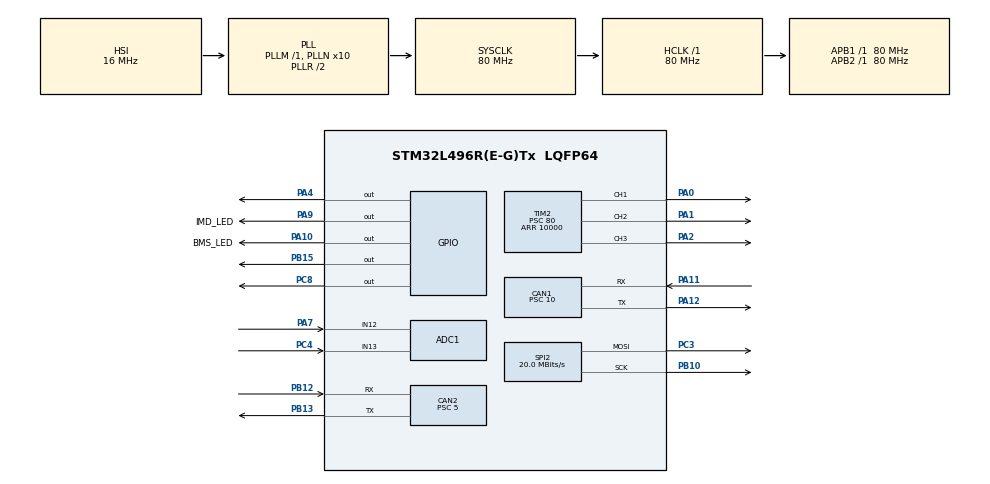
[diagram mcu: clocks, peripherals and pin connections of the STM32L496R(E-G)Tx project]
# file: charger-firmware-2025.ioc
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ADC1.Channel-0\#ChannelRegularConversion=ADC_CHANNEL_12
ADC1.NbrOfConversionFlag=1
ADC1.OffsetNumber-0\#ChannelRegularConversion=ADC_OFFSET_NONE
ADC1.Rank-0\#ChannelRegularConversion=1
ADC1.SamplingTime-0\#ChannelRegularConversion=ADC_SAMPLETIME_2CYCLES_5
ADC1.master=1
CAN1.BS1=CAN_BS1_13TQ
CAN1.BS2=CAN_BS2_2TQ
CAN1.CalculateBaudRate=500000
CAN1.CalculateTimeBit=2000
CAN1.CalculateTimeQuantum=125.0
CAN1.Prescaler=10
CAN2.BS1=CAN_BS1_13TQ
CAN2.BS2=CAN_BS2_2TQ
CAN2.AutoBusOff=ENABLE
CAN2.CalculateBaudRate=1000000
CAN2.CalculateTimeBit=1000
CAN2.CalculateTimeQuantum=62.5
CAN2.Prescaler=5
Dma.ADC1.0.Direction=DMA_PERIPH_TO_MEMORY
Dma.ADC1.0.Instance=DMA1_Channel1
Dma.ADC1.0.MemDataAlignment=DMA_MDATAALIGN_HALFWORD
Dma.ADC1.0.MemInc=DMA_MINC_ENABLE
Dma.ADC1.0.Mode=DMA_CIRCULAR
Dma.ADC1.0.PeriphDataAlignment=DMA_PDATAALIGN_HALFWORD
Dma.ADC1.0.PeriphInc=DMA_PINC_DISABLE
Dma.ADC1.0.Priority=DMA_PRIORITY_LOW
Dma.Request0=ADC1
Mcu.Family=STM32L4
Mcu.Name=STM32L496R(E-G)Tx
Mcu.Package=LQFP64
NVIC.DMA1_Channel1_IRQn=true\:0\:0\:false\:false\:true\:false\:true\:true
NVIC.PriorityGroup=NVIC_PRIORITYGROUP_4
PA0.Signal=S_TIM2_CH1
PA1.Signal=S_TIM2_CH2
PA10.GPIO_Label=BMS_LED
PA10.Signal=GPIO_Output
PA11.Mode=CAN_Activate
PA11.Signal=CAN1_RX
PA12.Mode=CAN_Activate
PA12.Signal=CAN1_TX
PA13\ (JTMS/SWDIO).Mode=Trace_Asynchronous_SW
PA13\ (JTMS/SWDIO).Signal=SYS_JTMS-SWDIO
PA14\ (JTCK/SWCLK).Mode=Trace_Asynchronous_SW
PA14\ (JTCK/SWCLK).Signal=SYS_JTCK-SWCLK
PA2.Signal=S_TIM2_CH3
PA4.PinState=GPIO_PIN_SET
PA4.Signal=GPIO_Output
PA7.Signal=ADCx_IN12
PA9.GPIO_Label=IMD_LED
PA9.Signal=GPIO_Output
PB10.Mode=TX_Only_Simplex_Unidirect_Master
PB10.Signal=SPI2_SCK
PB12.Mode=CAN_Activate
PB12.Signal=CAN2_RX
PB13.Mode=CAN_Activate
PB13.Signal=CAN2_TX
PB15.Signal=GPIO_Output
PB3\ (JTDO/TRACESWO).Mode=Trace_Asynchronous_SW
PB3\ (JTDO/TRACESWO).Signal=SYS_JTDO-SWO
PC3.Mode=TX_Only_Simplex_Unidirect_Master
PC3.Signal=SPI2_MOSI
PC4.Signal=ADCx_IN13
PC8.Signal=GPIO_Output
ProjectManager.HeapSize=0x200
ProjectManager.StackSize=0x400
ProjectManager.TargetToolchain=STM32CubeIDE
RCC.ADCFreq_Value=64000000
RCC.AHBFreq_Value=80000000
RCC.APB1Freq_Value=80000000
RCC.APB1TimFreq_Value=80000000
RCC.APB2Freq_Value=80000000
RCC.APB2TimFreq_Value=80000000
RCC.CortexFreq_Value=80000000
RCC.HCLKFreq_Value=80000000
RCC.HSE_VALUE=16000000
RCC.HSI48_VALUE=48000000
RCC.HSI_VALUE=16000000
RCC.LSE_VALUE=32768
RCC.MSI_VALUE=4000000
RCC.PLLN=10
RCC.PLLSourceVirtual=RCC_PLLSOURCE_HSI
RCC.SYSCLKFreq_VALUE=80000000
RCC.SYSCLKSource=RCC_SYSCLKSOURCE_PLLCLK
RCC.USBFreq_Value=64000000
RCC.VCOOutputFreq_Value=160000000
SH.ADCx_IN12.0=ADC1_IN12,IN12-Single-Ended
SH.ADCx_IN13.0=ADC1_IN13,IN13-Single-Ended
SH.S_TIM2_CH1.0=TIM2_CH1,PWM Generation1 CH1
SH.S_TIM2_CH2.0=TIM2_CH2,PWM Generation2 CH2
SH.S_TIM2_CH3.0=TIM2_CH3,PWM Generation3 CH3
SPI2.BaudRatePrescaler=SPI_BAUDRATEPRESCALER_4
SPI2.CLKPhase=SPI_PHASE_2EDGE
SPI2.CLKPolarity=SPI_POLARITY_HIGH
SPI2.CalculateBaudRate=20.0 MBits/s
SPI2.Direction=SPI_DIRECTION_2LINES
SPI2.Mode=SPI_MODE_MASTER
SPI2.VirtualType=VM_MASTER
TIM2.AutoReloadPreload=TIM_AUTORELOAD_PRELOAD_ENABLE
TIM2.Channel-PWM\ Generation1\ CH1=TIM_CHANNEL_1
TIM2.Channel-PWM\ Generation2\ CH2=TIM_CHANNEL_2
TIM2.Channel-PWM\ Generation3\ CH3=TIM_CHANNEL_3
TIM2.OCFastMode_PWM-PWM\ Generation1\ CH1=TIM_OCFAST_ENABLE
TIM2.OCFastMode_PWM-PWM\ Generation2\ CH2=TIM_OCFAST_ENABLE
TIM2.OCFastMode_PWM-PWM\ Generation3\ CH3=TIM_OCFAST_ENABLE
TIM2.OCPolarity_1=TIM_OCPOLARITY_LOW
TIM2.OCPolarity_2=TIM_OCPOLARITY_LOW
TIM2.OCPolarity_3=TIM_OCPOLARITY_LOW
TIM2.Period=10000
TIM2.Prescaler=80
VP_TIM2_VS_ClockSourceINT.Mode=Internal
board=custom

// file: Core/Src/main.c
/* USER CODE BEGIN Header */
/**
 ******************************************************************************
 * @file           : main.c
 * @brief          : Main program body
 ******************************************************************************
 * @attention
 *
 * Copyright (c) 2025 STMicroelectronics.
 * All rights reserved.
 *
 * This software is licensed under terms that can be found in the LICENSE file
 * in the root directory of this software component.
 * If no LICENSE file comes with this software, it is provided AS-IS.
 *
 ******************************************************************************
 */
/* USER CODE END Header */
#include "main.h"
#include "adc.h"
#include "can.h"
#include "dma.h"
#include "gpio.h"
#include "spi.h"
#include "tim.h"

/* USER CODE BEGIN Includes */
#include "charging.h"
#include "led.h"
#include "pilot.h"
#include "timer.h"

/* USER CODE END Includes */

/* USER CODE BEGIN PV */
uint8_t rainbow = 0;
/* USER CODE END PV */

void SystemClock_Config(void);

int main(void) {

  /* MCU Configuration--------------------------------------------------------*/

  /* Reset of all peripherals, Initializes the Flash interface and the Systick.
   */
  HAL_Init();

  /* Configure the system clock */
  SystemClock_Config();

  /* Initialize all configured peripherals */
  MX_GPIO_Init();
  MX_DMA_Init();
  MX_CAN1_Init();
  MX_CAN2_Init();
  MX_SPI2_Init();
  MX_TIM2_Init();
  MX_ADC1_Init();
  /* USER CODE BEGIN 2 */
  led_init(TIM2, &htim2, 3);
  lib_timer_init();

  // Init ADC sampling
  pilotInit();

  // charge for angelique is 1
  // charge for nightwatch is 2
  charging_init(2);
  //
  // ST7796_Init();
  // Draw_Blue_Square();
  /* USER CODE END 2 */

  /* Infinite loop */
  /* USER CODE BEGIN WHILE */

  uint32_t totalTime = 0;
  while (1) {
    pilotPeriodic();
    uint32_t elapsedTime = lib_timer_ms_elapsed();
    totalTime += elapsedTime;
    uint8_t led_high = (totalTime / 150) % 2;

    HAL_GPIO_WritePin(BMS_LED_GPIO_Port, BMS_LED_Pin, getBmsError());
    HAL_GPIO_WritePin(IMD_LED_GPIO_Port, IMD_LED_Pin, getImdError());

    // HAL_GPIO_WritePin(BMS_LED_GPIO_Port, BMS_LED_Pin, led_high);
    // HAL_GPIO_WritePin(IMD_LED_GPIO_Port, IMD_LED_Pin, !led_high);

    float deltaTime = elapsedTime / 1000.0f;
    charging_periodic(deltaTime);

    if (getEnabled()) {
      led_rainbow(deltaTime);
    }
    /* USER CODE END WHILE */

  }
}

void SystemClock_Config(void) {
  RCC_OscInitTypeDef RCC_OscInitStruct = {0};
  RCC_ClkInitTypeDef RCC_ClkInitStruct = {0};

  /** Configure the main internal regulator output voltage
   */
  if (HAL_PWREx_ControlVoltageScaling(PWR_REGULATOR_VOLTAGE_SCALE1) != HAL_OK) {
    Error_Handler();
  }

  /** Initializes the RCC Oscillators according to the specified parameters
   * in the RCC_OscInitTypeDef structure.
   */
  RCC_OscInitStruct.OscillatorType = RCC_OSCILLATORTYPE_HSI;
  RCC_OscInitStruct.HSIState = RCC_HSI_ON;
  RCC_OscInitStruct.HSICalibrationValue = RCC_HSICALIBRATION_DEFAULT;
  RCC_OscInitStruct.PLL.PLLState = RCC_PLL_ON;
  RCC_OscInitStruct.PLL.PLLSource = RCC_PLLSOURCE_HSI;
  RCC_OscInitStruct.PLL.PLLM = 1;
  RCC_OscInitStruct.PLL.PLLN = 10;
  RCC_OscInitStruct.PLL.PLLP = RCC_PLLP_DIV2;
  RCC_OscInitStruct.PLL.PLLQ = RCC_PLLQ_DIV2;
  RCC_OscInitStruct.PLL.PLLR = RCC_PLLR_DIV2;
  if (HAL_RCC_OscConfig(&RCC_OscInitStruct) != HAL_OK) {
    Error_Handler();
  }

  /** Initializes the CPU, AHB and APB buses clocks
   */
  RCC_ClkInitStruct.ClockType = RCC_CLOCKTYPE_HCLK | RCC_CLOCKTYPE_SYSCLK |
                                RCC_CLOCKTYPE_PCLK1 | RCC_CLOCKTYPE_PCLK2;
  RCC_ClkInitStruct.SYSCLKSource = RCC_SYSCLKSOURCE_PLLCLK;
  RCC_ClkInitStruct.AHBCLKDivider = RCC_SYSCLK_DIV1;
  RCC_ClkInitStruct.APB1CLKDivider = RCC_HCLK_DIV1;
  RCC_ClkInitStruct.APB2CLKDivider = RCC_HCLK_DIV1;

  if (HAL_RCC_ClockConfig(&RCC_ClkInitStruct, FLASH_LATENCY_4) != HAL_OK) {
    Error_Handler();
  }
}

void Error_Handler(void) {
  __disable_irq();
  while (1) {
  }
}

#ifdef USE_FULL_ASSERT
/**
 * @brief  Reports the name of the source file and the source line number
 *         where the assert_param error has occurred.
 * @param  file: pointer to the source file name
 * @param  line: assert_param error line source number
 * @retval None
 */
void assert_failed(uint8_t *file, uint32_t line) {
  /* USER CODE BEGIN 6 */
  /* User can add his own implementation to report the file name and line
     number, ex: printf("Wrong parameters value: file %s on line %d\r\n", file,
     line) */
  /* USER CODE END 6 */
}
#endif /* USE_FULL_ASSERT */
